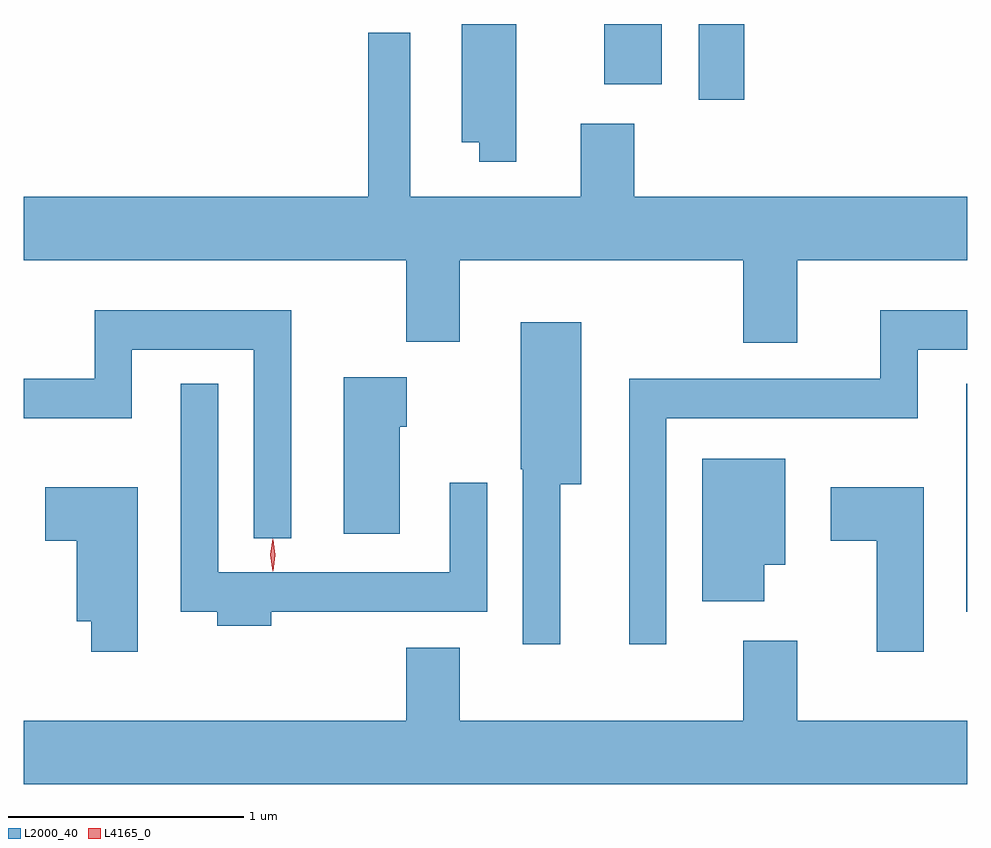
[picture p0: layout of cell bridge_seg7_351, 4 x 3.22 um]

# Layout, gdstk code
import gdstk
lib = gdstk.Library(unit=1e-6, precision=1e-09)
def R(c, l, rs):  # rectangles x0, y0, x1, y1
    for r in rs: c.add(gdstk.rectangle(r[:2], r[2:], *l))
def P(c, l, *ps):  # polygons
    for p in ps: c.add(gdstk.Polygon(p, *l))
L2000_40 = (2000, 40)
L4165_0 = (4165, 0)

bridge_seg7_351 = lib.new_cell('bridge_seg7_351')
R(bridge_seg7_351, L2000_40, [(1145.856,1743.906,1145.86,1744.873), (1144.721,1746.076,1144.914,1746.397), (1144.321,1746.141,1144.564,1746.397)])
P(bridge_seg7_351, L2000_40, [(1143.949,1746.397),(1143.716,1746.397),(1143.716,1745.896),(1143.791,1745.896),(1143.791,1745.813),(1143.949,1745.813)],
  [(1145.139,1745.396),(1145.86,1745.396),(1145.86,1745.664),(1144.449,1745.664),(1144.449,1745.974),(1144.221,1745.974),(1144.221,1745.664),(1143.499,1745.664),(1143.499,1746.359),(1143.321,1746.359),(1143.321,1745.664),(1141.86,1745.664),(1141.86,1745.396),(1143.481,1745.396),(1143.481,1745.051),(1143.709,1745.051),(1143.709,1745.396),(1144.911,1745.396),(1144.911,1745.046),(1145.139,1745.046)],
  [(1142.994,1745.184),(1142.161,1745.184),(1142.161,1744.894),(1141.86,1744.894),(1141.86,1744.726),(1142.319,1744.726),(1142.319,1745.016),(1142.836,1745.016),(1142.836,1744.218),(1142.994,1744.218)],
  [(1144.584,1744.726),(1145.649,1744.726),(1145.649,1745.016),(1145.86,1745.016),(1145.86,1745.184),(1145.491,1745.184),(1145.491,1744.894),(1144.426,1744.894),(1144.426,1743.768),(1144.584,1743.768)],
  [(1144.134,1744.446),(1144.224,1744.446),(1144.224,1745.134),(1143.966,1745.134),(1143.966,1744.51),(1143.976,1744.51),(1143.976,1743.768),(1144.134,1743.768)],
  [(1143.454,1744.691),(1143.484,1744.691),(1143.484,1744.899),(1143.216,1744.899),(1143.216,1744.236),(1143.454,1744.236)],
  [(1142.909,1743.906),(1143.824,1743.906),(1143.824,1744.453),(1143.666,1744.453),(1143.666,1744.074),(1142.684,1744.074),(1142.684,1744.873),(1142.526,1744.873),(1142.526,1743.906),(1142.681,1743.906),(1142.681,1743.846),(1142.909,1743.846)],
  [(1144.999,1744.106),(1145.089,1744.106),(1145.089,1744.554),(1144.736,1744.554),(1144.736,1743.951),(1144.999,1743.951)],
  [(1145.674,1744.434),(1145.281,1744.434),(1145.281,1744.206),(1145.476,1744.206),(1145.476,1743.736),(1145.674,1743.736)],
  [(1142.344,1744.434),(1141.951,1744.434),(1141.951,1744.206),(1142.086,1744.206),(1142.086,1743.866),(1142.146,1743.866),(1142.146,1743.736),(1142.344,1743.736)],
  [(1145.86,1743.444),(1145.139,1743.444),(1145.139,1743.784),(1144.911,1743.784),(1144.911,1743.444),(1143.709,1743.444),(1143.709,1743.754),(1143.481,1743.754),(1143.481,1743.444),(1141.86,1743.444),(1141.86,1743.176),(1145.86,1743.176)])
P(bridge_seg7_351, L4165_0, [(1142.916,1744.077),(1142.916,1744.078),(1142.906,1744.147),(1142.916,1744.216),(1142.916,1744.216),(1142.917,1744.216),(1142.926,1744.147),(1142.917,1744.078)],
  [(1142.917,1744.079),(1142.917,1744.08),(1142.907,1744.146),(1142.917,1744.212),(1142.917,1744.213),(1142.918,1744.212),(1142.927,1744.146),(1142.918,1744.08)])

lib.write_gds('bridge_seg7_351.gds')
